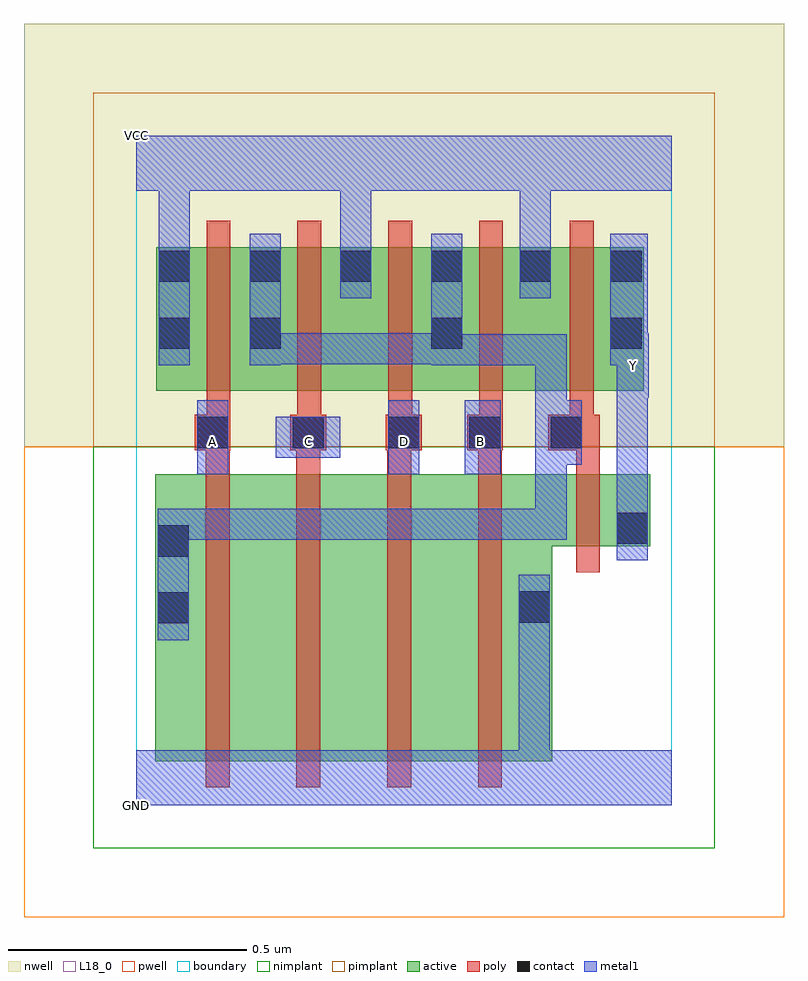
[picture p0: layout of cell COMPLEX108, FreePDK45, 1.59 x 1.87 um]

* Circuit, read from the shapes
.subckt COMPLEX108 A B C D GND VCC Y
M1 n1 A n2 VSUBS nfet w=0.6u l=0.05u
M2 n3 C n1 VSUBS nfet w=0.6u l=0.05u
M3 n4 D n3 VSUBS nfet w=0.6u l=0.05u
M4 GND B n4 VSUBS nfet w=0.6u l=0.05u
M5 Y n2 GND VSUBS nfet w=0.15u l=0.05u
M6 n2 A VCC n5 pfet w=0.3u l=0.05u
M7 VCC C n2 n5 pfet w=0.3u l=0.05u
M8 n2 D VCC n5 pfet w=0.3u l=0.05u
M9 VCC B n2 n5 pfet w=0.3u l=0.05u
M10 Y n2 VCC n5 pfet w=0.3u l=0.05u
.ends

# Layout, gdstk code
import gdstk
lib = gdstk.Library(unit=1e-6, precision=1e-09)
def R(c, l, rs):  # rectangles x0, y0, x1, y1
    for r in rs: c.add(gdstk.rectangle(r[:2], r[2:], *l))
def A(c, l, x, y, w, h, nx, ny, dx, dy):  # array of equal rectangles
    R(c, l, [(x+i*dx, y+j*dy, x+i*dx+w, y+j*dy+h) for i in range(nx) for j in range(ny)])
active = (1, 0)
pwell = (2, 0)
nwell = (3, 0)
nimplant = (4, 0)
pimplant = (5, 0)
poly = (9, 0)
contact = (10, 0)
metal1 = (11, 0)
L18_0 = (18, 0)
boundary = (235, 0)

complex108 = lib.new_cell('COMPLEX108')
A(complex108, active, 0.042, 0.867, 0.265, 0.3, 3, 1, 0.19, 0)
R(complex108, active, [(0.04,0.092,0.265,0.692), (0.265,0.092,0.455,0.692), (0.455,0.092,0.645,0.692), (0.645,0.092,0.87,0.692), (0.04,0.095,0.145,0.692), (0.795,0.377,0.87,0.542), (0.795,0.542,1.075,0.692), (1,0.542,1.075,0.692), (0.042,0.867,0.117,1.167), (0.232,0.867,0.307,1.167), (0.612,0.867,0.872,1.167), (0.797,0.867,1.062,1.167), (0.987,0.867,1.062,1.167), (0.612,0.877,0.687,1.167), (0.422,1.002,0.497,1.167), (0.797,1.002,0.872,1.167)])
R(complex108, pwell, [(-0.235,-0.235,1.355,0.75)])
R(complex108, nwell, [(-0.235,0.75,1.355,1.635)])
R(complex108, nimplant, [(-0.09,-0.09,1.21,0.75)])
R(complex108, pimplant, [(-0.09,0.75,1.21,1.49)])
A(complex108, poly, 0.145, 0.037, 0.05, 0.71, 4, 1, 0.19, 0)
A(complex108, poly, 0.145, 0.697, 0.05, 0.095, 4, 1, 0.19, 0)
A(complex108, poly, 0.122, 0.742, 0.075, 0.075, 3, 1, 0.2, 0)
A(complex108, poly, 0.147, 0.767, 0.05, 0.095, 5, 1, 0.19, 0)
A(complex108, poly, 0.147, 0.812, 0.05, 0.41, 5, 1, 0.19, 0)
R(complex108, poly, [(0.92,0.487,0.97,0.747), (0.92,0.697,0.97,0.792), (0.692,0.742,0.767,0.817), (0.862,0.742,0.97,0.817)])
A(complex108, contact, 0.127, 0.747, 0.065, 0.065, 3, 1, 0.2, 0)
A(complex108, contact, 0.047, 1.095, 0.065, 0.065, 4, 1, 0.19, 0)
R(complex108, contact, [(0.045,0.38,0.11,0.445), (0.8,0.382,0.865,0.447), (0.045,0.52,0.11,0.585), (1.005,0.547,1.07,0.612), (0.697,0.747,0.762,0.812), (0.867,0.747,0.932,0.812), (0.047,0.955,0.112,1.02), (0.237,0.955,0.302,1.02), (0.617,0.955,0.682,1.02), (0.992,0.955,1.057,1.02), (0.802,1.095,0.867,1.16), (0.992,1.095,1.057,1.16)])
R(complex108, metal1, [(0,0,1.12,0.115), (0.8,0.05,0.865,0.412), (0.045,0.345,0.11,0.62), (0.8,0.347,0.865,0.482), (1.005,0.512,1.07,0.647), (0.045,0.555,0.11,0.62), (0.045,0.555,0.11,0.62), (0.045,0.555,0.355,0.62), (0.29,0.555,0.355,0.62), (0.29,0.555,0.355,0.62), (0.29,0.555,0.355,0.62), (0.29,0.555,0.492,0.62), (0.427,0.555,0.492,0.62), (0.427,0.555,0.545,0.62), (0.48,0.555,0.545,0.62), (0.48,0.555,0.682,0.62), (0.617,0.555,0.682,0.62), (0.617,0.555,0.682,0.62), (0.617,0.555,0.682,0.62), (0.617,0.555,0.9,0.62), (0.835,0.555,0.9,0.62), (0.835,0.555,0.9,0.777), (1.005,0.582,1.07,0.917), (0.127,0.692,0.192,0.847), (0.527,0.692,0.592,0.847), (0.687,0.692,0.762,0.847), (0.835,0.712,0.9,0.777), (0.835,0.712,0.932,0.777), (0.835,0.712,0.9,0.985), (0.867,0.712,0.932,0.847), (0.292,0.727,0.427,0.812), (1.005,0.852,1.072,0.987), (0.047,0.92,0.112,1.195), (0.237,0.92,0.302,1.195), (0.617,0.92,0.682,0.985), (0.617,0.92,0.682,0.985), (0.617,0.92,0.9,0.985), (0.617,0.92,0.682,1.195), (0.835,0.92,0.9,0.985), (0.992,0.92,1.07,1.195), (1.005,0.92,1.07,0.985), (0.237,0.922,0.302,0.987), (0.237,0.922,0.302,0.987), (0.237,0.922,0.522,0.987), (0.457,0.922,0.522,0.987), (0.457,0.922,0.522,0.987), (0.457,0.922,0.522,0.987), (0.457,0.922,0.682,0.987), (0.427,1.06,0.492,1.195), (0.802,1.06,0.867,1.195), (0.047,1.13,0.112,1.195), (0.047,1.13,0.112,1.195), (0.047,1.13,0.112,1.35), (0.427,1.13,0.492,1.195), (0.427,1.13,0.492,1.195), (0.427,1.13,0.492,1.35), (0.802,1.13,0.867,1.195), (0.802,1.13,0.867,1.195), (0.802,1.13,0.867,1.35), (0,1.285,1.12,1.4)])
A(complex108, L18_0, 0.127, 0.727, 0.065, 0.065, 3, 1, 0.2, 0)
R(complex108, L18_0, [(0,0,1.12,0.115), (0.8,0.05,0.865,0.412), (0.8,0.347,0.865,0.482), (1.005,0.512,1.07,0.647), (1.005,0.582,1.07,0.917), (0.127,0.692,0.192,0.847), (0.527,0.692,0.592,0.847), (0.687,0.692,0.762,0.847), (0.292,0.727,0.427,0.812), (0.687,0.727,0.752,0.792), (1.005,0.852,1.072,0.987), (1.007,0.887,1.072,0.952), (0.047,0.92,0.112,1.195), (0.992,0.92,1.07,1.195), (1.005,0.92,1.07,0.985), (0.427,1.06,0.492,1.195), (0.802,1.06,0.867,1.195), (0.047,1.13,0.112,1.195), (0.047,1.13,0.112,1.195), (0.047,1.13,0.112,1.35), (0.427,1.13,0.492,1.195), (0.427,1.13,0.492,1.195), (0.427,1.13,0.492,1.35), (0.802,1.13,0.867,1.195), (0.802,1.13,0.867,1.195), (0.802,1.13,0.867,1.35), (0,1.285,1.12,1.4)])
R(complex108, boundary, [(0,0,1.12,1.4)])
complex108.add(gdstk.Label('A', (0.16,0.76), layer=11, texttype=0))
complex108.add(gdstk.Label('B', (0.72,0.76), layer=11, texttype=0))
complex108.add(gdstk.Label('C', (0.36,0.76), layer=11, texttype=0))
complex108.add(gdstk.Label('D', (0.56,0.76), layer=11, texttype=0))
complex108.add(gdstk.Label('Y', (1.04,0.92), layer=11, texttype=0))
complex108.add(gdstk.Label('VCC', (0,1.4), layer=11, texttype=0))
complex108.add(gdstk.Label('GND', (0,0), layer=11, texttype=0))

lib.write_gds('COMPLEX108.gds')
